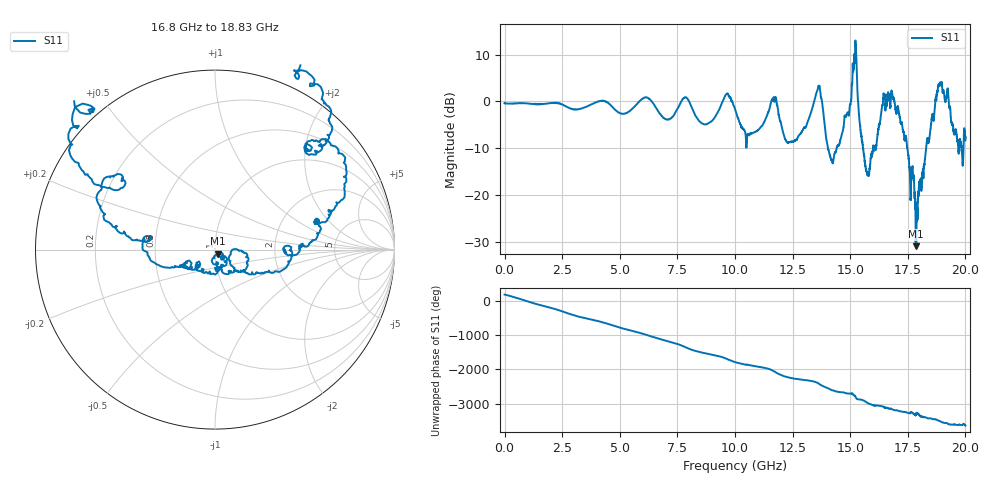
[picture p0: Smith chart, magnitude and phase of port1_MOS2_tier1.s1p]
! Created with skrf 1.8.0 (http://scikit-rf.org).
# GHz S RI R 50.0
!freq ReS11 ImS11
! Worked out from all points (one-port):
!   10000 points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, 3 MHz to 20 GHz, reference 50 ohm
!   lowest |S11| = -30.9 dB at 17.87 GHz (marker M1), VSWR 1.06, Z = 51.6 - j2.41 ohm
!   |S11| at or under -10 dB: 14.04 GHz to 14.42 GHz (376.2 MHz wide, 2.64 % of centre); 15.55 GHz to 15.99 GHz (433.7 MHz wide, 2.75 % of centre); 17.48 GHz to 18.29 GHz (808.2 MHz wide, 4.52 % of centre) (the widest 3 of 10)
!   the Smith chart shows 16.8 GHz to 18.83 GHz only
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0.0029999  -0.9561 0.0401
0.8569572  0.9415 0.1664
1.318934  0.0441 -0.9349
1.826909  -0.9457 -0.0541
2.502875  0.6081 0.6997
3.082846  0.1315 -0.8115
3.722814  -0.9154 0.0501
4.292785  0.1186 1.006
5.00275  0.3188 -0.6767
6.110695  -0.0676 1.1
6.536673  0.8812 0.0527
7.502625  -0.8263 0.0343
8.104595  0.8614 0.2073
9.452527  -0.8847 0.4366
10.0025  0.8152 0.1488
11.05445  -0.3235 -0.3918
11.71441  -0.1043 0.9908
12.50237  -0.0913 -0.3578
13.64632  -0.2189 1.452
14.0623  0.2351 -0.1902
15.00225  -0.9077 0.1439
15.18024  -1.478 2.683
15.32823  1.085 0.173
16.38818  -0.8341 0.2946
17.50212  0.2613 -0.1293
17.86611  0.0162 -0.0233
18.89006  -0.0109 1.57
20  0.342 -0.2277
